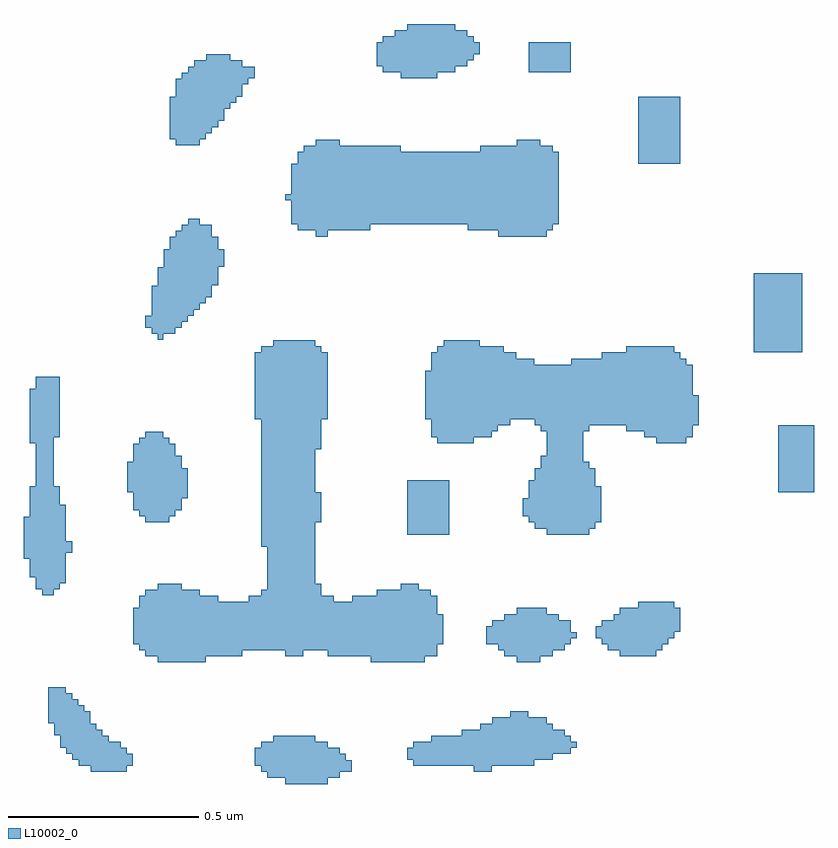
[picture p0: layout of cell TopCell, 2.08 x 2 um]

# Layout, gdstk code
import gdstk
lib = gdstk.Library(unit=1e-6, precision=1e-09)
def R(c, l, rs):  # rectangles x0, y0, x1, y1
    for r in rs: c.add(gdstk.rectangle(r[:2], r[2:], *l))
L10002_0 = (10002, 0)

topcell = lib.new_cell('TopCell')
R(topcell, L10002_0, [(1.424,0.752,1.535,0.768), (1.376,0.768,1.567,0.784), (0.912,0.784,1.007,0.8), (1.36,0.784,1.599,0.8), (1.92,0.784,1.967,0.8), (0.88,0.8,1.023,0.816), (1.344,0.8,1.599,0.815), (1.76,0.8,2.079,0.816), (1.344,0.815,1.583,0.831), (0.864,0.816,1.023,0.831), (1.744,0.816,2.127,0.847), (0.864,0.831,1.007,0.832), (1.344,0.831,1.567,0.847), (0.848,0.832,1.007,0.847), (2.127,0.832,2.175,0.847), (0.848,0.847,0.991,0.848), (1.36,0.847,1.535,0.863), (1.76,0.847,2.175,0.863), (0.832,0.848,0.991,0.863), (2.175,0.848,2.191,0.863), (0.832,0.863,0.959,0.879), (1.392,0.863,1.503,0.879), (1.808,0.863,2.175,0.879), (0.832,0.879,0.943,0.88), (1.888,0.879,2.159,0.895), (0.816,0.88,0.943,0.895), (0.816,0.895,0.927,0.911), (1.936,0.895,2.127,0.911), (0.816,0.911,0.911,0.912), (1.968,0.911,2.111,0.927), (0.8,0.912,0.911,0.943), (2.016,0.927,2.063,0.943), (0.8,0.943,0.895,0.959), (0.8,0.959,0.879,0.975), (0.8,0.975,0.863,0.991), (0.8,0.991,0.847,1.007), (1.088,1.072,1.215,1.088), (1.648,1.072,1.791,1.088), (2.032,1.072,2.095,1.088), (1.056,1.088,1.311,1.104), (1.424,1.088,1.471,1.104), (1.536,1.088,1.823,1.104), (2,1.088,2.127,1.104), (2.304,1.088,2.399,1.104), (1.04,1.104,1.823,1.12), (1.984,1.104,2.159,1.12), (2.272,1.104,2.415,1.12), (1.024,1.12,1.839,1.199), (1.952,1.12,2.175,1.167), (2.256,1.12,2.431,1.136), (2.175,1.136,2.191,1.151), (2.24,1.136,2.447,1.167), (2.447,1.152,2.463,1.167), (1.968,1.167,2.175,1.183), (2.256,1.167,2.463,1.183), (2,1.183,2.143,1.199), (2.288,1.183,2.463,1.199), (1.024,1.199,1.823,1.215), (2.032,1.199,2.111,1.215), (2.304,1.199,2.463,1.215), (1.04,1.215,1.823,1.231), (2.352,1.215,2.447,1.231), (1.04,1.231,1.247,1.247), (1.328,1.231,1.551,1.247), (1.6,1.231,1.823,1.247), (1.056,1.247,1.199,1.263), (1.36,1.247,1.519,1.263), (1.664,1.247,1.807,1.263), (0.784,1.248,0.815,1.264), (1.088,1.263,1.151,1.279), (1.376,1.263,1.519,1.279), (1.728,1.263,1.775,1.279), (0.768,1.264,0.831,1.296), (1.376,1.279,1.503,1.376), (0.831,1.28,0.847,1.296), (0.752,1.296,0.847,1.344), (0.736,1.344,0.847,1.455), (0.847,1.36,0.863,1.391), (1.36,1.376,1.503,1.712), (1.744,1.408,1.855,1.551), (2.112,1.408,2.223,1.424), (2.08,1.424,2.239,1.44), (1.056,1.44,1.119,1.456), (1.503,1.44,1.519,1.519), (2.064,1.44,2.255,1.456), (0.752,1.455,0.847,1.487), (1.04,1.456,1.135,1.472), (2.048,1.456,2.255,1.503), (1.024,1.472,1.151,1.52), (0.752,1.487,0.831,1.535), (2.064,1.503,2.255,1.535), (1.151,1.504,1.167,1.52), (1.008,1.52,1.167,1.583), (2.72,1.52,2.815,1.695), (0.768,1.535,0.815,1.648), (2.064,1.535,2.239,1.551), (2.08,1.551,2.239,1.583), (1.008,1.583,1.151,1.599), (2.096,1.583,2.223,1.599), (1.024,1.599,1.151,1.615), (2.096,1.599,2.207,1.615), (1.024,1.615,1.135,1.647), (2.112,1.615,2.207,1.68), (1.503,1.632,1.519,1.712), (1.04,1.647,1.119,1.663), (0.752,1.648,0.815,1.791), (1.824,1.648,1.919,1.664), (2.4,1.648,2.479,1.664), (1.056,1.663,1.103,1.679), (0.815,1.664,0.831,1.791), (1.808,1.664,1.967,1.712), (2.368,1.664,2.495,1.68), (1.967,1.68,1.983,1.712), (2.096,1.68,2.223,1.696), (2.32,1.68,2.495,1.696), (1.983,1.696,2.015,1.712), (2.08,1.696,2.511,1.712), (1.344,1.712,1.535,1.887), (1.792,1.712,2.511,1.775), (1.792,1.775,2.495,1.839), (0.768,1.791,0.831,1.823), (1.808,1.839,2.495,1.855), (1.808,1.855,2.079,1.871), (2.176,1.855,2.479,1.871), (1.808,1.871,2.031,1.887), (2.256,1.871,2.463,1.887), (1.36,1.887,1.519,1.903), (1.824,1.887,1.999,1.903), (2.32,1.887,2.447,1.903), (2.656,1.888,2.783,2.095), (1.392,1.903,1.503,1.919), (1.84,1.903,1.935,1.919), (1.088,1.92,1.103,1.936), (1.072,1.936,1.135,1.952), (1.056,1.952,1.151,1.983), (1.151,1.968,1.167,1.983), (1.072,1.983,1.167,2.063), (1.167,1.984,1.183,2.063), (1.183,2,1.199,2.063), (1.199,2.016,1.215,2.063), (1.215,2.032,1.231,2.063), (1.088,2.063,1.231,2.111), (1.231,2.064,1.247,2.111), (1.104,2.111,1.247,2.159), (1.247,2.112,1.263,2.159), (1.12,2.159,1.247,2.191), (1.136,2.191,1.231,2.207), (1.504,2.192,1.535,2.208), (1.984,2.192,2.111,2.208), (1.152,2.207,1.231,2.223), (1.456,2.208,1.647,2.224), (1.904,2.208,2.127,2.224), (1.168,2.223,1.199,2.239), (1.44,2.224,2.143,2.288), (1.424,2.288,2.143,2.303), (1.44,2.303,2.143,2.383), (1.456,2.383,2.143,2.415), (2.352,2.384,2.463,2.559), (1.472,2.415,1.727,2.431), (1.936,2.415,2.127,2.431), (1.504,2.431,1.567,2.447), (2.032,2.431,2.095,2.447), (1.136,2.432,1.199,2.448), (1.12,2.448,1.215,2.559), (1.215,2.464,1.231,2.559), (1.231,2.48,1.247,2.559), (1.247,2.496,1.263,2.559), (1.263,2.528,1.279,2.559), (1.279,2.544,1.295,2.559), (1.136,2.559,1.295,2.607), (1.295,2.56,1.311,2.607), (1.311,2.592,1.327,2.607), (1.152,2.607,1.327,2.623), (1.327,2.608,1.343,2.623), (1.728,2.608,1.823,2.624), (1.168,2.623,1.343,2.639), (1.68,2.624,1.871,2.64), (2.064,2.624,2.175,2.703), (1.184,2.639,1.311,2.655), (1.664,2.64,1.903,2.703), (1.216,2.655,1.279,2.671), (1.903,2.656,1.919,2.703), (1.919,2.672,1.935,2.703), (1.68,2.703,1.919,2.719), (1.712,2.719,1.903,2.735), (1.744,2.735,1.871,2.751)])

lib.write_gds('TopCell.gds')
